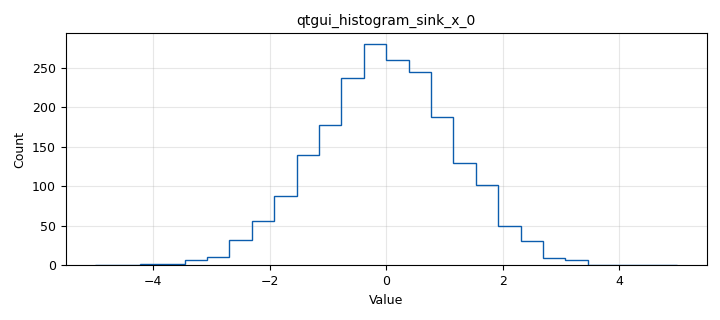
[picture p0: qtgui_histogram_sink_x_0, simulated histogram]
options:
  parameters:
    generate_options: qt_gui
    id: untitled
    output_language: python
    title: Not titled yet
  states: {}

blocks:
- name: samp_rate
  id: variable
  parameters:
    value: '5000'
  states: {}
- name: analog_noise_source_x_0
  id: analog_noise_source_x
  parameters:
    amp: '1'
    noise_type: analog.GR_GAUSSIAN
    seed: '0'
    type: float
  states: {}
- name: blocks_add_xx_0
  id: blocks_add_xx
  parameters:
    type: float
  states: {}
- name: blocks_throttle_0
  id: blocks_throttle
  parameters:
    samples_per_second: samp_rate
    type: float
  states: {}
- name: epy_block_0
  id: epy_block
  parameters:
    Nsamples: '20'
    Nsymbols: '100'
    _source_code: |
      """
      Embedded Python Blocks:

      Each time this file is saved, GRC will instantiate the first class it finds
      to get ports and parameters of your block. The arguments to __init__  will
      be the parameters. All of them are required to have default values!
      """

      import numpy as np
      from gnuradio import gr


      class blk(gr.basic_block):  # other base classes are basic_block, decim_block, interp_block
          """Embedded Python Block example - a simple multiply const"""

          def __init__(self, p_simbol_0=0.5, a0=-1, a1=1, Nsamples=20, Nsymbols=100 ):  # only default arguments here
              """arguments to this function show up as parameters in GRC"""
              gr.sync_block.__init__(
                  self,
                  name='Generador de Simbolos',   # will show up in GRC
                  in_sig= None, #[np.float32],
                  out_sig=[np.float32]
              )
              
              self.p_0 = p_simbol_0 #probabilidad de generación símbolo 1
              self.p_1 = 1-self.p_0 #probabilidad de generación símbolo 2
              self.a0 = a0
              self.a1 = a1

              self.Nsymbols = Nsymbols
              self.Nsamples = Nsamples

              self.N = Nsymbols * Nsamples 
              
              
              # if an attribute with the same name as a parameter is found,
              # a callback is registered (properties work, too).

          def work(self, input_items, output_items):
              # Genera una secuencia de símbolos basados en las probabilidades dadas
              data = np.random.choice([self.a0, self.a1], size=self.Nsymbols, p=[self.p_0, self.p_1])
              # Repite cada símbolo según el número de muestras por símbolo
              data = np.concatenate([[v]*self.Nsamples for v in data])
              message = data  # Almacena la secuencia completa en la variable 'message'
              """example: multiply with constant"""
              for i in range(len(message)):
              	output_items[0][i] =  message[i]
             
              return len(output_items[0])
    a0: '-1'
    a1: '1'
    p_simbol_0: '0.5'
  states: {}
- name: epy_block_1
  id: epy_block
  parameters:
    _source_code: |
      """
      Embedded Python Blocks:

      Each time this file is saved, GRC will instantiate the first class it finds
      to get ports and parameters of your block. The arguments to __init__  will
      be the parameters. All of them are required to have default values!
      """

      import numpy as np
      from sklearn.neighbors import KernelDensity
      from sklearn.model_selection import GridSearchCV
      import scipy.stats
      from gnuradio import gr


      class blk(gr.sync_block):  # other base classes are basic_block, decim_block, interp_block
          """Embedded Python Block example - a simple multiply const"""

          def __init__(self, example_param=1.0):  # only default arguments here
              """arguments to this function show up as parameters in GRC"""
              gr.sync_block.__init__(
                  self,
                  name='Embedded Python Block',   # will show up in GRC
                  in_sig=[np.float32],
                  out_sig=[np.float32]
              )
              # if an attribute with the same name as a parameter is found,
              # a callback is registered (properties work, too).
              self.example_param = example_param
              print('Se genero esto')
              
          def kde_function(signal_x,eval_points=None,method="Silverman",res=500):
          	
              if method == 'Silverman':
                  n = len(signal_x)
                  sigma = np.std(signal_x)
                  optimal_bandwidth = (4 / (3 * n)) ** (1 / 5) * sigma
                  print(f'Method:{method}\nOptimal bandwidth: {optimal_bandwidth:.2f}')

              elif method == 'Cross Validation':
                  # Define los posibles valores para el ancho de banda
                  bandwidths = np.arange(0.05, 2, 0.05)

                  # Crea y configura el objeto para la búsqueda en la cuadrícula
                  kde = KernelDensity(kernel='gaussian')
                  grid = GridSearchCV(kde, {'bandwidth': bandwidths})
                  grid.fit(signal_x.reshape(-1, 1))

                  # Obtiene el mejor estimador y su ancho de banda óptimo
                  kde_optimal = grid.best_estimator_
                  optimal_bandwidth = kde_optimal.bandwidth
                  print(f'Optimal bandwidth: {optimal_bandwidth:.2f}')

              else:
                  print('Error')
                  return
                  
              kde = scipy.stats.gaussian_kde(signal_x, bw_method=optimal_bandwidth)

              if eval_points is None:
                  eval_points = np.linspace(np.min(signal_x), np.max(signal_x),res)
                  
              y_sp = kde.pdf(eval_points)
                  
              return (eval_points, y_sp)

          def work(self, input_items, output_items):
              """example: multiply with constant"""
              output_items[0][:] = input_items[0] * self.example_param
              return len(output_items[0])
    example_param: '1.0'
  states: {}
- name: qtgui_histogram_sink_x_0
  id: qtgui_histogram_sink_x
  parameters:
    bins: '26'
    size: '2048'
    type: float
    xmax: '5'
    xmin: '-5'
  states: {}
- name: qtgui_time_sink_x_0
  id: qtgui_time_sink_x
  parameters:
    nconnections: '2'
    size: '2000'
    srate: samp_rate
    type: float
  states: {}

connections:
- [analog_noise_source_x_0, '0', blocks_add_xx_0, '1']
- [blocks_add_xx_0, '0', blocks_throttle_0, '0']
- [blocks_throttle_0, '0', epy_block_1, '0']
- [blocks_throttle_0, '0', qtgui_histogram_sink_x_0, '0']
- [blocks_throttle_0, '0', qtgui_time_sink_x_0, '0']
- [epy_block_0, '0', blocks_add_xx_0, '0']
- [epy_block_1, '0', qtgui_time_sink_x_0, '1']

metadata:
  file_format: 1
